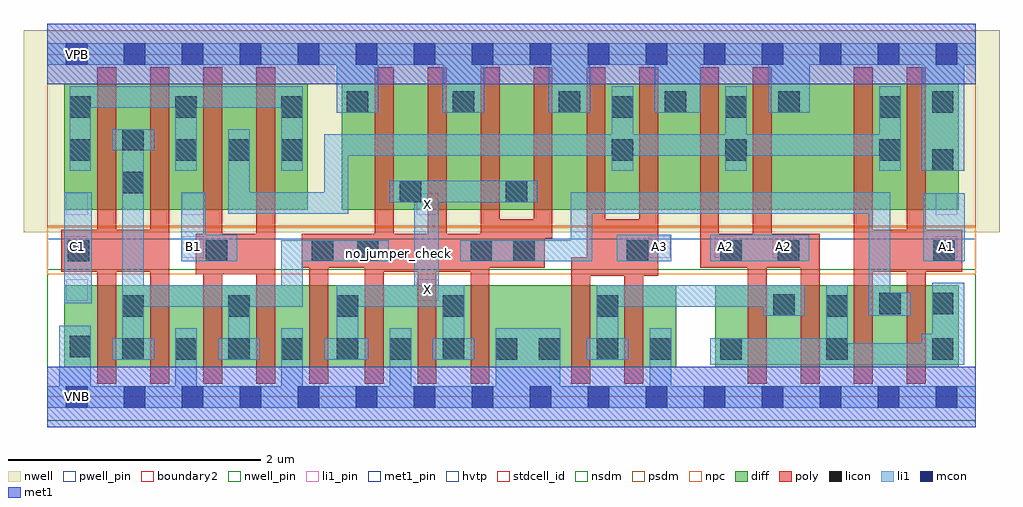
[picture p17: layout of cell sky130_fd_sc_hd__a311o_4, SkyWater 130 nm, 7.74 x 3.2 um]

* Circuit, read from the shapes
.subckt sky130_fd_sc_hd__a311o_4 A1 A2 A3 B1 C1 VGND VNB VPB VPWR X
XM1 n1 C1 VGND VNB sky130_fd_pr__nfet_01v8 w=0.65 l=0.15 m=2
XM2 n1 B1 VGND VNB sky130_fd_pr__nfet_01v8 w=0.65 l=0.15 m=2
XM3 X n1 VGND VNB sky130_fd_pr__nfet_01v8 w=0.65 l=0.15 m=4
XM4 n2 A3 VGND VNB sky130_fd_pr__nfet_01v8 w=0.65 l=0.15 m=2
XM5 n2 A2 n3 VNB sky130_fd_pr__nfet_01v8 w=0.65 l=0.15 m=2
XM6 n1 A1 n3 VNB sky130_fd_pr__nfet_01v8 w=0.65 l=0.15 m=2
XM7 n1 C1 n4 VPB sky130_fd_pr__pfet_01v8_hvt w=1 l=0.15 m=2
XM8 n5 B1 n4 VPB sky130_fd_pr__pfet_01v8_hvt w=1 l=0.15 m=2
XM9 X n1 VPWR VPB sky130_fd_pr__pfet_01v8_hvt w=1 l=0.15 m=4
XM10 n5 A3 VPWR VPB sky130_fd_pr__pfet_01v8_hvt w=1 l=0.15 m=2
XM11 n5 A2 VPWR VPB sky130_fd_pr__pfet_01v8_hvt w=1 l=0.15 m=2
XM12 n5 A1 VPWR VPB sky130_fd_pr__pfet_01v8_hvt w=1 l=0.15 m=2
.ends

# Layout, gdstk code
import gdstk
lib = gdstk.Library(unit=1e-6, precision=1e-09)
def R(c, l, rs):  # rectangles x0, y0, x1, y1
    for r in rs: c.add(gdstk.rectangle(r[:2], r[2:], *l))
def A(c, l, x, y, w, h, nx, ny, dx, dy):  # array of equal rectangles
    R(c, l, [(x+i*dx, y+j*dy, x+i*dx+w, y+j*dy+h) for i in range(nx) for j in range(ny)])
def P(c, l, *ps):  # polygons
    for p in ps: c.add(gdstk.Polygon(p, *l))
nwell_pin = (64, 16)
nwell = (64, 20)
diff = (65, 20)
poly = (66, 20)
licon = (66, 44)
li1_pin = (67, 16)
li1 = (67, 20)
mcon = (67, 44)
met1_pin = (68, 16)
met1 = (68, 20)
hvtp = (78, 44)
stdcell_id = (81, 4)
nsdm = (93, 44)
psdm = (94, 20)
npc = (95, 20)
pwell_pin = (122, 16)
boundary2 = (236, 0)

sky130_fd_sc_hd__a311o_4 = lib.new_cell('sky130_fd_sc_hd__a311o_4')
R(sky130_fd_sc_hd__a311o_4, nwell_pin, [(0.15,2.635,0.32,2.805)])
R(sky130_fd_sc_hd__a311o_4, nwell, [(-0.19,1.305,7.55,2.91)])
R(sky130_fd_sc_hd__a311o_4, diff, [(0.135,0.235,4.985,0.885), (5.295,0.235,7.225,0.885), (0.135,1.485,2.065,2.485), (2.335,1.485,7.225,2.485)])
P(sky130_fd_sc_hd__a311o_4, poly, [(0.965,2.615),(0.815,2.615),(0.815,1.325),(0.545,1.325),(0.545,2.615),(0.395,2.615),(0.395,1.325),(0.11,1.325),(0.11,0.995),(0.395,0.995),(0.395,0.105),(0.545,0.105),(0.545,0.995),(0.815,0.995),(0.815,0.105),(0.965,0.105)],
  [(7.255,1.325),(6.965,1.325),(6.965,2.615),(6.815,2.615),(6.815,1.325),(6.545,1.325),(6.545,2.615),(6.395,2.615),(6.395,0.105),(6.545,0.105),(6.545,0.995),(6.815,0.995),(6.815,0.105),(6.965,0.105),(6.965,0.995),(7.255,0.995)],
  [(1.805,2.615),(1.655,2.615),(1.655,1.295),(1.385,1.295),(1.385,2.615),(1.235,2.615),(1.235,1.295),(1.175,1.295),(1.175,0.975),(1.235,0.975),(1.235,0.105),(1.385,0.105),(1.385,0.975),(1.655,0.975),(1.655,0.105),(1.805,0.105)],
  [(4.005,2.615),(3.855,2.615),(3.855,1.41),(3.585,1.41),(3.585,2.615),(3.435,2.615),(3.435,1.295),(3.165,1.295),(3.165,2.615),(3.015,2.615),(3.015,1.295),(2.745,1.295),(2.745,2.615),(2.595,2.615),(2.595,1.295),(2.015,1.295),(2.015,1.025),(2.075,1.025),(2.075,0.105),(2.225,0.105),(2.225,1.025),(2.515,1.025),(2.515,0.105),(2.665,0.105),(2.665,0.995),(2.935,0.995),(2.935,0.105),(3.085,0.105),(3.085,0.995),(3.355,0.995),(3.355,0.105),(3.505,0.105),(3.505,1.025),(3.945,1.025),(3.945,1.26),(4.005,1.26)],
  [(4.845,2.615),(4.695,2.615),(4.695,1.41),(4.425,1.41),(4.425,2.615),(4.275,2.615),(4.275,1.11),(4.155,1.11),(4.155,0.105),(4.305,0.105),(4.305,0.96),(4.575,0.96),(4.575,0.105),(4.725,0.105),(4.725,0.96),(4.845,0.96)],
  [(6.125,1.295),(5.745,1.295),(5.745,2.615),(5.595,2.615),(5.595,1.295),(5.325,1.295),(5.325,2.615),(5.175,2.615),(5.175,1.025),(5.555,1.025),(5.555,0.105),(5.705,0.105),(5.705,1.025),(5.975,1.025),(5.975,0.105),(6.125,0.105)])
A(sky130_fd_sc_hd__a311o_4, licon, 0.595, 0.295, 0.17, 0.17, 4, 1, 0.42, 0)
A(sky130_fd_sc_hd__a311o_4, licon, 2.295, 0.295, 0.17, 0.17, 4, 1, 0.42, 0)
A(sky130_fd_sc_hd__a311o_4, licon, 5.335, 0.295, 0.17, 0.17, 3, 1, 0.84, 0)
A(sky130_fd_sc_hd__a311o_4, licon, 1.015, 1.875, 0.17, 0.17, 3, 1, 0.42, 0)
A(sky130_fd_sc_hd__a311o_4, licon, 0.175, 2.215, 0.17, 0.17, 3, 1, 0.84, 0)
A(sky130_fd_sc_hd__a311o_4, licon, 2.375, 2.255, 0.17, 0.17, 4, 1, 0.84, 0)
R(sky130_fd_sc_hd__a311o_4, licon, [(3.895,0.295,4.065,0.465), (4.355,0.295,4.525,0.465), (4.775,0.295,4.945,0.465), (0.175,0.315,0.345,0.485), (0.595,0.635,0.765,0.805), (1.435,0.635,1.605,0.805), (2.295,0.635,2.465,0.805), (3.135,0.635,3.305,0.805), (4.355,0.635,4.525,0.805), (6.175,0.635,6.345,0.805), (5.755,0.645,5.925,0.815), (6.595,0.655,6.765,0.825), (7.015,0.655,7.185,0.825), (0.16,1.075,0.33,1.245), (1.255,1.075,1.425,1.245), (2.095,1.075,2.265,1.245), (2.455,1.075,2.625,1.245), (3.355,1.075,3.525,1.245), (3.695,1.075,3.865,1.245), (4.595,1.075,4.765,1.245), (5.335,1.075,5.505,1.245), (5.79,1.075,5.96,1.245), (7.025,1.075,7.195,1.245), (2.795,1.545,2.965,1.715), (3.635,1.545,3.805,1.715), (0.595,1.615,0.765,1.785), (7.015,1.795,7.185,1.965), (0.175,1.875,0.345,2.045), (4.475,1.875,4.645,2.045), (5.375,1.875,5.545,2.045), (6.595,1.875,6.765,2.045), (0.595,1.955,0.765,2.125), (4.475,2.215,4.645,2.385), (5.375,2.215,5.545,2.385), (6.595,2.215,6.765,2.385), (5.795,2.255,5.965,2.425), (7.015,2.255,7.185,2.425)])
A(sky130_fd_sc_hd__a311o_4, li1_pin, 0.15, 0.765, 0.17, 0.17, 1, 3, 0, 0.34)
R(sky130_fd_sc_hd__a311o_4, li1_pin, [(2.93,0.765,3.1,0.935), (1.07,1.105,1.24,1.275), (4.77,1.105,4.94,1.275), (5.29,1.105,5.46,1.275), (5.75,1.105,5.92,1.275), (7.045,1.105,7.215,1.275), (1.07,1.445,1.24,1.615), (2.93,1.445,3.1,1.615), (7.045,1.445,7.215,1.615)])
R(sky130_fd_sc_hd__a311o_4, li1, [(0.135,0.745,0.35,1.625), (4.515,1.075,4.945,1.285), (5.255,1.075,6.04,1.285), (6.945,1.075,7.275,1.615)])
P(sky130_fd_sc_hd__a311o_4, li1, [(7.36,2.805),(0,2.805),(0,2.635),(2.295,2.635),(2.295,2.255),(2.625,2.255),(2.625,2.635),(3.135,2.635),(3.135,2.255),(3.465,2.255),(3.465,2.635),(3.975,2.635),(3.975,2.255),(4.305,2.255),(4.305,2.635),(4.815,2.635),(4.815,2.255),(5.175,2.255),(5.175,2.635),(5.715,2.635),(5.715,2.255),(6.045,2.255),(6.045,2.635),(6.935,2.635),(6.935,1.795),(7.27,1.795),(7.27,2.635),(7.36,2.635)],
  [(7.36,0.085),(4.945,0.085),(4.945,0.545),(4.775,0.545),(4.775,0.085),(4.065,0.085),(4.065,0.545),(3.555,0.545),(3.555,0.085),(2.885,0.085),(2.885,0.545),(2.715,0.545),(2.715,0.085),(2.025,0.085),(2.025,0.545),(1.855,0.545),(1.855,0.085),(1.185,0.085),(1.185,0.545),(1.015,0.545),(1.015,0.085),(0.345,0.085),(0.345,0.565),(0.095,0.565),(0.095,0.085),(0,0.085),(0,-0.085),(7.36,-0.085)],
  [(6.005,0.885),(4.355,0.885),(4.355,0.465),(4.275,0.465),(4.275,0.295),(4.605,0.295),(4.605,0.465),(4.525,0.465),(4.525,0.715),(5.675,0.715),(5.675,0.645),(6.005,0.645)],
  [(6.765,2.465),(6.595,2.465),(6.595,2.085),(5.545,2.085),(5.545,2.465),(5.375,2.465),(5.375,2.085),(4.645,2.085),(4.645,2.465),(4.475,2.465),(4.475,2.085),(2.195,2.085),(2.195,1.625),(1.605,1.625),(1.605,2.125),(1.435,2.125),(1.435,1.455),(2.385,1.455),(2.385,1.915),(4.475,1.915),(4.475,1.795),(4.645,1.795),(4.645,1.915),(5.375,1.915),(5.375,1.795),(5.545,1.795),(5.545,1.915),(6.595,1.915),(6.595,1.795),(6.765,1.795)],
  [(6.845,0.825),(6.685,0.825),(6.685,1.625),(4.15,1.625),(4.15,1.245),(3.275,1.245),(3.275,1.075),(4.32,1.075),(4.32,1.455),(6.515,1.455),(6.515,0.645),(6.845,0.645)],
  [(7.27,0.905),(7.015,0.905),(7.015,0.5),(6.935,0.5),(6.935,0.425),(6.345,0.425),(6.345,0.885),(6.175,0.885),(6.175,0.465),(5.255,0.465),(5.255,0.255),(7.27,0.255)],
  [(3.885,1.715),(2.715,1.715),(2.715,1.545),(2.91,1.545),(2.91,0.885),(2.295,0.885),(2.295,0.465),(2.195,0.465),(2.195,0.295),(2.545,0.295),(2.545,0.465),(2.465,0.465),(2.465,0.715),(3.135,0.715),(3.135,0.465),(3.055,0.465),(3.055,0.295),(3.385,0.295),(3.385,0.465),(3.305,0.465),(3.305,0.885),(3.105,0.885),(3.105,1.545),(3.885,1.545)],
  [(2.705,1.245),(1.855,1.245),(1.855,0.885),(0.765,0.885),(0.765,1.955),(0.845,1.955),(0.845,2.125),(0.515,2.125),(0.515,1.955),(0.595,1.955),(0.595,0.465),(0.515,0.465),(0.515,0.295),(0.845,0.295),(0.845,0.465),(0.765,0.465),(0.765,0.715),(1.435,0.715),(1.435,0.465),(1.355,0.465),(1.355,0.295),(1.685,0.295),(1.685,0.465),(1.605,0.465),(1.605,0.715),(2.025,0.715),(2.025,1.075),(2.705,1.075)],
  [(2.025,2.465),(0.175,2.465),(0.175,1.795),(0.345,1.795),(0.345,2.295),(1.015,2.295),(1.015,1.795),(1.185,1.795),(1.185,2.295),(1.855,2.295),(1.855,1.795),(2.025,1.795)],
  [(1.06,1.075),(1.06,1.625),(1.255,1.625),(1.255,1.285),(1.505,1.285),(1.505,1.075)])
A(sky130_fd_sc_hd__a311o_4, mcon, 0.145, -0.085, 0.17, 0.17, 16, 2, 0.46, 2.72)
R(sky130_fd_sc_hd__a311o_4, met1_pin, [(0.15,-0.085,0.32,0.085), (0.15,2.635,0.32,2.805)])
R(sky130_fd_sc_hd__a311o_4, hvtp, [(0,1.25,7.36,2.72)])
R(sky130_fd_sc_hd__a311o_4, stdcell_id, [(0,0,7.36,2.72)])
R(sky130_fd_sc_hd__a311o_4, nsdm, [(0,-0.19,7.36,1.015)])
R(sky130_fd_sc_hd__a311o_4, psdm, [(0,1.355,7.36,2.91)])
R(sky130_fd_sc_hd__a311o_4, npc, [(0,0.975,7.36,1.345)])
R(sky130_fd_sc_hd__a311o_4, pwell_pin, [(0.15,-0.085,0.32,0.085)])
R(sky130_fd_sc_hd__a311o_4, boundary2, [(0,0,7.36,2.72)])
sky130_fd_sc_hd__a311o_4.add(gdstk.FlexPath([(0,2.72),(7.36,2.72)], 0.48, ends="flush", simple_path=True, layer=68, datatype=20))  # met1
sky130_fd_sc_hd__a311o_4.add(gdstk.FlexPath([(0,0),(7.36,0)], 0.48, ends="flush", simple_path=True, layer=68, datatype=20))  # met1
sky130_fd_sc_hd__a311o_4.add(gdstk.Label('VNB', (0.235,0), layer=64, texttype=59))
sky130_fd_sc_hd__a311o_4.add(gdstk.Label('VPB', (0.235,2.72), layer=64, texttype=5))
sky130_fd_sc_hd__a311o_4.add(gdstk.Label('VGND', (0.23,0), layer=68, texttype=5))
sky130_fd_sc_hd__a311o_4.add(gdstk.Label('VPWR', (0.23,2.72), layer=68, texttype=5))
sky130_fd_sc_hd__a311o_4.add(gdstk.Label('C1', (0.235,1.19), layer=67, texttype=5))
sky130_fd_sc_hd__a311o_4.add(gdstk.Label('A1', (7.13,1.19), layer=67, texttype=5))
sky130_fd_sc_hd__a311o_4.add(gdstk.Label('A2', (5.835,1.19), layer=67, texttype=5))
sky130_fd_sc_hd__a311o_4.add(gdstk.Label('A2', (5.375,1.19), layer=67, texttype=5))
sky130_fd_sc_hd__a311o_4.add(gdstk.Label('A3', (4.855,1.19), layer=67, texttype=5))
sky130_fd_sc_hd__a311o_4.add(gdstk.Label('X', (3.015,0.85), layer=67, texttype=5))
sky130_fd_sc_hd__a311o_4.add(gdstk.Label('X', (3.015,1.53), layer=67, texttype=5))
sky130_fd_sc_hd__a311o_4.add(gdstk.Label('B1', (1.155,1.19), layer=67, texttype=5))
sky130_fd_sc_hd__a311o_4.add(gdstk.Label('a311o_4', (0,0), layer=83, texttype=44))
sky130_fd_sc_hd__a311o_4.add(gdstk.Label('no_jumper_check', (2.78,1.135), layer=83, texttype=44))

lib.write_gds('sky130_fd_sc_hd__a311o_4.gds')
